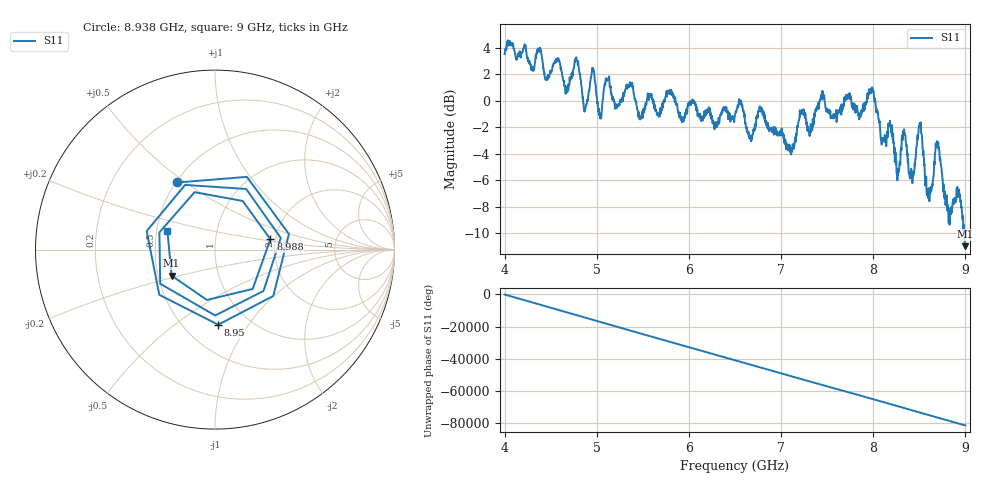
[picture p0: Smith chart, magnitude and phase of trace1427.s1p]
! Created with skrf 1.8.0 (http://scikit-rf.org).
# Hz S RI R 50.0
!freq ReS11 ImS11
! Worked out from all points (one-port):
!   1601 points, 4 GHz to 9 GHz, reference 50 ohm
!   lowest |S11| = -11.0 dB at 8.997 GHz (marker M1), VSWR 1.79, Z = 29.5 - j9.31 ohm
!   |S11| at or under -10 dB: 8.983503 GHz to end of sweep
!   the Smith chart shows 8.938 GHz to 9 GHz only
!   S11 on the Smith chart (normalised r, x): 8.938 GHz: 0.51, +0.47; 8.95 GHz: 0.72, -0.73; 8.988 GHz: 1.87, +0.24; 9 GHz: 0.57, +0.13
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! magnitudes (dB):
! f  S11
! 4 GHz  3.5
! 4.625 GHz  2.0
! 4.781 GHz  3.1
! 4.872 GHz  -0.8
! 5.25 GHz  -0.1
! 5.875 GHz  -0.5
! 6.5 GHz  -1.1
! 7.125 GHz  -3.3
! 7.225 GHz  -0.7
! 7.312 GHz  -2.5
! 7.444 GHz  0.1
! 7.75 GHz  0.3
! 7.984 GHz  1.0
! 8.1 GHz  -2.8
! 8.191 GHz  -2.0
! 8.259 GHz  -5.6
! 8.334 GHz  -2.2
! 8.375 GHz  -4.7
! 8.422 GHz  -5.5
! 8.506 GHz  -1.7
! 8.603 GHz  -7.0
! 8.694 GHz  -3.2
! 8.809 GHz  -7.9
! 8.938 GHz  -7.4
! 8.95 GHz  -7.6
! 8.988 GHz  -10.1
! 8.997 GHz  -11.0
! 9 GHz  -10.9
